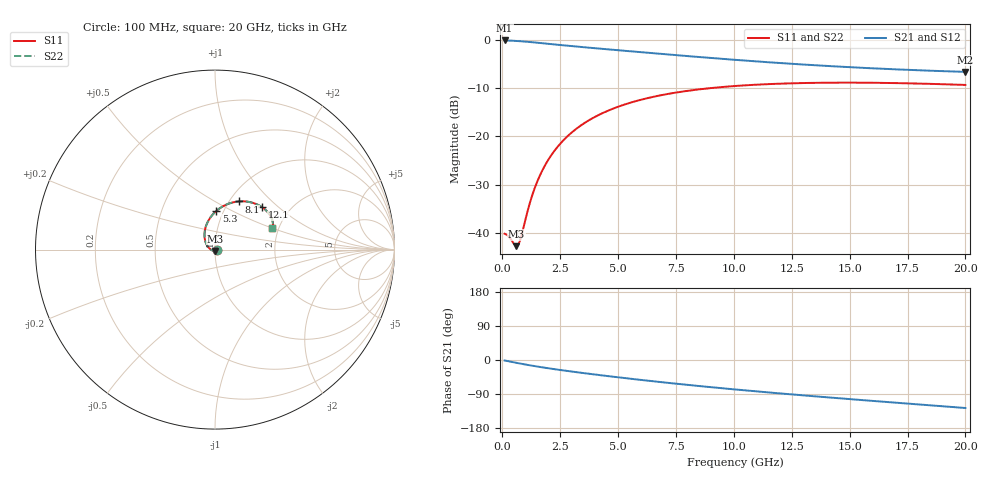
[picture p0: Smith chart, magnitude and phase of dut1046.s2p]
! Touchstone file exported from HFSS 2024.1.0
!  File:  C:/UserFiles/LocalFiles/RDL_TSV_Batchsim/temp_RDL_TSV_1046_1780086809.aedt
!  Generated:  04:49:06 AM May 30, 2026
!  Design:  RDL_TSV
!  Project:  temp_RDL_TSV_1046_1780086809
!  Setup:  Setup1
!  Solution:  Sweep
! Variables:
!  dtsv = 10.69um
!  hbump = 3um
!  htsv = 63.33um
!  ldown = 424.95um
!  lrdl = 100.86um
!  p = 40
!  p1 = 57.71um
!  rhole = 10um
!  subl = 1678.29um
!  t = 450um
!  tdown = 2.94um
!  trdl = 2.35um
!  viad = 10um
!  wdown = 26.33um
!  wrdl = 19.38um
!  xbump = 18um
# GHz S MA R 50.000000
! Terminal data exported
! Port[1] = TM1_1_T1
! Port[2] = TM1_4_T1
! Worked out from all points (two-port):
!   200 points, 100 MHz to 20 GHz, reference 50 ohm
!   highest |S21| = -0.09 dB at 100 MHz (marker M1); lowest = -6.6 dB at 20 GHz (marker M2)
!   |S21| within 3 dB of the highest: start of sweep to 7.393 GHz
!   lowest |S11| = -42.8 dB at 600 MHz (marker M3), VSWR 1.01, Z = 50.2 - j0.713 ohm
!   |S11| at or under -10 dB: start of sweep to 8.94 GHz
!   |S22| runs from -42.8 to -8.8 dB; largest |S21 - S12| = 2e-14
!   S11 on the Smith chart (normalised r, x): 100 MHz: 1.02, -0.00; 5.3 GHz: 0.92, +0.42; 8.1 GHz: 1.10, +0.65; 12.1 GHz: 1.46, +0.79; 20 GHz: 1.85, +0.51
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0.1  0.009797 -7.4  0.9897 -1.3  0.9897 -1.3  0.009797 -7.4
! Gamma 0 0 0 0
! Port Impedance 50 0 50 0
0.3  0.009067 -26.2  0.9867 -3.8  0.9867 -3.8  0.009068 -26.2
0.6  0.007281 -77.3  0.9785 -7.4  0.9785 -7.4  0.007284 -77.3
0.7  0.007568 -101.6  0.975 -8.6  0.975 -8.6  0.007569 -101.6
0.8  0.008811 -124.6  0.9712 -9.7  0.9712 -9.7  0.00881 -124.6
1.1  0.0171 -167.4  0.9583 -13.0  0.9583 -13.0  0.01709 -167.4
1.4  0.0291 171.3  0.9436 -16.2  0.9436 -16.2  0.02909 171.4
1.6  0.03822 161.6  0.9335 -18.2  0.9335 -18.2  0.0382 161.6
1.8  0.0479 153.6  0.9232 -20.1  0.9232 -20.1  0.04788 153.6
2.1  0.0631 143.7  0.9079 -22.9  0.9079 -22.9  0.06307 143.7
2.5  0.08397 132.9  0.8881 -26.4  0.8881 -26.4  0.08393 132.9
3  0.11 121.8  0.8648 -30.5  0.8648 -30.5  0.11 121.9
3.5  0.1354 112.6  0.843 -34.5  0.843 -34.5  0.1353 112.6
4.3  0.1733 100.5  0.8105 -40.6  0.8105 -40.6  0.1732 100.5
5.3  0.2152 88.2  0.7727 -47.8  0.7727 -47.8  0.2151 88.2
6.8  0.2661 73.7  0.7201 -58.0  0.7201 -58.0  0.266 73.7
8.1  0.2994 63.7  0.6784 -66.3  0.6784 -66.3  0.2993 63.7
10.1  0.3342 51.4  0.6218 -78.0  0.6218 -78.0  0.334 51.4
12.1  0.3534 41.8  0.575 -88.7  0.575 -88.7  0.3532 41.8
13.4  0.3594 36.7  0.5495 -95.4  0.5495 -95.4  0.3592 36.7
16.7  0.3585 26.8  0.4999 -111.3  0.4999 -111.3  0.3583 26.8
20  0.3422 20.6  0.4673 -126.7  0.4673 -126.7  0.3419 20.6
